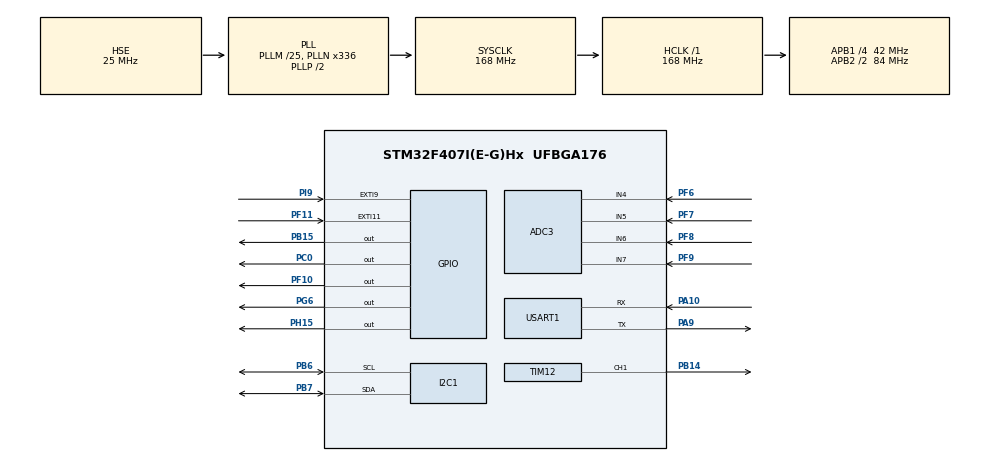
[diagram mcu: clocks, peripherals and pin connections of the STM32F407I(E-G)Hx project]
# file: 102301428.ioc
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ADC3.Channel-0\#ChannelRegularConversion=ADC_CHANNEL_4
ADC3.Channel-1\#ChannelRegularConversion=ADC_CHANNEL_5
ADC3.Channel-2\#ChannelRegularConversion=ADC_CHANNEL_6
ADC3.Channel-3\#ChannelRegularConversion=ADC_CHANNEL_7
ADC3.ContinuousConvMode=ENABLE
ADC3.DMAContinuousRequests=ENABLE
ADC3.NbrOfConversion=4
ADC3.NbrOfConversionFlag=1
ADC3.Rank-0\#ChannelRegularConversion=1
ADC3.Rank-1\#ChannelRegularConversion=2
ADC3.Rank-2\#ChannelRegularConversion=3
ADC3.Rank-3\#ChannelRegularConversion=4
ADC3.SamplingTime-0\#ChannelRegularConversion=ADC_SAMPLETIME_112CYCLES
ADC3.SamplingTime-1\#ChannelRegularConversion=ADC_SAMPLETIME_112CYCLES
ADC3.SamplingTime-2\#ChannelRegularConversion=ADC_SAMPLETIME_112CYCLES
ADC3.SamplingTime-3\#ChannelRegularConversion=ADC_SAMPLETIME_112CYCLES
ADC3.ScanConvMode=ENABLE
Dma.ADC3.0.Direction=DMA_PERIPH_TO_MEMORY
Dma.ADC3.0.FIFOMode=DMA_FIFOMODE_DISABLE
Dma.ADC3.0.Instance=DMA2_Stream0
Dma.ADC3.0.MemDataAlignment=DMA_MDATAALIGN_HALFWORD
Dma.ADC3.0.MemInc=DMA_MINC_ENABLE
Dma.ADC3.0.Mode=DMA_CIRCULAR
Dma.ADC3.0.PeriphDataAlignment=DMA_PDATAALIGN_HALFWORD
Dma.ADC3.0.PeriphInc=DMA_PINC_DISABLE
Dma.ADC3.0.Priority=DMA_PRIORITY_LOW
Dma.Request0=ADC3
FREERTOS.Tasks01=defaultTask,0,128,StartDefaultTask,Default,NULL,Dynamic,NULL,NULL
Mcu.Family=STM32F4
Mcu.Name=STM32F407I(E-G)Hx
Mcu.Package=UFBGA176
NVIC.DMA2_Stream0_IRQn=true\:5\:0\:false\:false\:true\:true\:false\:true
NVIC.EXTI15_10_IRQn=true\:5\:0\:false\:false\:true\:true\:true\:true
NVIC.EXTI9_5_IRQn=true\:5\:0\:false\:false\:true\:true\:true\:true
NVIC.PriorityGroup=NVIC_PRIORITYGROUP_4
PA10.Mode=Asynchronous
PA10.Signal=USART1_RX
PA9.Mode=Asynchronous
PA9.Signal=USART1_TX
PB14.Signal=S_TIM12_CH1
PB15.Signal=GPIO_Output
PB6.Mode=I2C
PB6.Signal=I2C1_SCL
PB7.Mode=I2C
PB7.Signal=I2C1_SDA
PC0.Signal=GPIO_Output
PF10.Signal=GPIO_Output
PF11.Signal=GPXTI11
PF6.Mode=IN4
PF6.Signal=ADC3_IN4
PF7.Mode=IN5
PF7.Signal=ADC3_IN5
PF8.Mode=IN6
PF8.Signal=ADC3_IN6
PF9.Mode=IN7
PF9.Signal=ADC3_IN7
PG6.Signal=GPIO_Output
PH0-OSC_IN.Mode=HSE-External-Oscillator
PH0-OSC_IN.Signal=RCC_OSC_IN
PH1-OSC_OUT.Mode=HSE-External-Oscillator
PH1-OSC_OUT.Signal=RCC_OSC_OUT
PH15.Signal=GPIO_Output
PI9.Signal=GPXTI9
ProjectManager.HeapSize=0x200
ProjectManager.StackSize=0x400
ProjectManager.TargetToolchain=MDK-ARM V5.27
RCC.48MHZClocksFreq_Value=84000000
RCC.AHBFreq_Value=168000000
RCC.APB1CLKDivider=RCC_HCLK_DIV4
RCC.APB1Freq_Value=42000000
RCC.APB1TimFreq_Value=84000000
RCC.APB2CLKDivider=RCC_HCLK_DIV2
RCC.APB2Freq_Value=84000000
RCC.APB2TimFreq_Value=168000000
RCC.CortexFreq_Value=168000000
RCC.HCLKFreq_Value=168000000
RCC.HSE_VALUE=25000000
RCC.HSI_VALUE=16000000
RCC.LSE_VALUE=32768
RCC.PLLM=8
RCC.PLLN=168
RCC.SYSCLKFreq_VALUE=168000000
RCC.SYSCLKSource=RCC_SYSCLKSOURCE_PLLCLK
RCC.VCOOutputFreq_Value=336000000
SH.S_TIM12_CH1.0=TIM12_CH1,PWM Generation1 CH1
TIM12.Channel-PWM\ Generation1\ CH1=TIM_CHANNEL_1
TIM12.Period=20000
TIM12.Prescaler=84-1
TIM12.Pulse-PWM\ Generation1\ CH1=1000
USART1.VirtualMode=VM_ASYNC
VP_FREERTOS_VS_CMSIS_V1.Mode=CMSIS_V1
board=custom

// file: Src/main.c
/* USER CODE BEGIN Header */
/**
  ******************************************************************************
  * @file           : main.c
  * @brief          : Main program body
  ******************************************************************************
  * @attention
  *
  * <h2><center>&copy; Copyright (c) 2025 STMicroelectronics.
  * All rights reserved.</center></h2>
  *
  * This software component is licensed by ST under Ultimate Liberty license
  * SLA0044, the "License"; You may not use this file except in compliance with
  * the License. You may obtain a copy of the License at:
  *                             www.st.com/SLA0044
  *
  ******************************************************************************
  */
/* USER CODE END Header */

#include "main.h"
#include "cmsis_os.h"
#include "adc.h"
#include "dma.h"
#include "i2c.h"
#include "tim.h"
#include "usart.h"
#include "gpio.h"

/* USER CODE BEGIN Includes */
#include "stdio.h"
/* USER CODE END Includes */

/* USER CODE BEGIN PD */
static  volatile int flag = 0 ;
static  volatile int alarm = 0 ;
/* USER CODE END PD */

/* USER CODE BEGIN PV */
__IO uint16_t adcx[4]={0};
float temp0,temp1,temp2,temp3;
#define ZLG_READ_ADDRESS1         0x01
#define ZLG_WRITE_ADDRESS1        0x17		//显示缓冲区首地址
#define ZLG_WRITE_ADDRESS2        0x16
/* USER CODE END PV */

void SystemClock_Config(void);
void MX_FREERTOS_Init(void);
/* USER CODE BEGIN PFP */
void LedD3(void const *argument);
void LedD2(void const *argument);
void stopAll(void const *argument);
void SensorTask(void const *argument);
void Peer(void const *argument);
void duoji(void const *argument);
void Love(void const *argument);
/* USER CODE END PFP */

int main(void)
{

  /* MCU Configuration--------------------------------------------------------*/

  /* Reset of all peripherals, Initializes the Flash interface and the Systick. */
  HAL_Init();

  /* Configure the system clock */
  SystemClock_Config();

  /* Initialize all configured peripherals */
  MX_GPIO_Init();
  MX_DMA_Init();
  MX_ADC3_Init();
  MX_I2C1_Init();
  MX_TIM12_Init();
  MX_USART1_UART_Init();
  /* USER CODE BEGIN 2 */
	HAL_ADC_Start_DMA(&hadc3,(uint32_t*)adcx,4);//开启ADC转换
	HAL_TIM_PWM_Start(&htim12, TIM_CHANNEL_1);
	HAL_GPIO_WritePin(GPIOB ,GPIO_PIN_15 ,GPIO_PIN_SET );
	HAL_GPIO_WritePin(GPIOC ,GPIO_PIN_0 ,GPIO_PIN_SET );
	HAL_GPIO_WritePin(GPIOF ,GPIO_PIN_10 ,GPIO_PIN_SET );
	HAL_GPIO_WritePin(GPIOH ,GPIO_PIN_15 ,GPIO_PIN_SET );
	osThreadDef (LedD3 ,LedD3 ,osPriorityNormal ,0,128);
	osThreadDef (LedD2 ,LedD2 ,osPriorityNormal ,0,128);
	osThreadDef (stopAll ,stopAll ,osPriorityNormal ,0,128);
	osThreadDef (SensorTask ,SensorTask ,osPriorityNormal ,0,128);
	osThreadDef (Peer ,Peer ,osPriorityNormal ,0,128);
	osThreadDef (duoji ,duoji ,osPriorityNormal ,0,128);
	osThreadDef (Love ,Love ,osPriorityNormal ,0,128);
	osThreadCreate (osThread (LedD3 ),NULL );
	osThreadCreate (osThread (LedD2 ),NULL );
	osThreadCreate (osThread (stopAll),NULL );
	osThreadCreate (osThread (SensorTask),NULL );
	osThreadCreate (osThread (Peer),NULL );
	osThreadCreate (osThread (duoji),NULL );
	osThreadCreate (osThread (Love),NULL );

  /* USER CODE END 2 */

  /* Call init function for freertos objects (in freertos.c) */
  MX_FREERTOS_Init();
  /* Start scheduler */
  osKernelStart();

  /* We should never get here as control is now taken by the scheduler */
  /* Infinite loop */
  while (1)
  {

  }
}

void SystemClock_Config(void)
{
  RCC_OscInitTypeDef RCC_OscInitStruct = {0};
  RCC_ClkInitTypeDef RCC_ClkInitStruct = {0};

  /** Configure the main internal regulator output voltage
  */
  __HAL_RCC_PWR_CLK_ENABLE();
  __HAL_PWR_VOLTAGESCALING_CONFIG(PWR_REGULATOR_VOLTAGE_SCALE1);
  /** Initializes the CPU, AHB and APB busses clocks
  */
  RCC_OscInitStruct.OscillatorType = RCC_OSCILLATORTYPE_HSE;
  RCC_OscInitStruct.HSEState = RCC_HSE_ON;
  RCC_OscInitStruct.PLL.PLLState = RCC_PLL_ON;
  RCC_OscInitStruct.PLL.PLLSource = RCC_PLLSOURCE_HSE;
  RCC_OscInitStruct.PLL.PLLM = 25;
  RCC_OscInitStruct.PLL.PLLN = 336;
  RCC_OscInitStruct.PLL.PLLP = RCC_PLLP_DIV2;
  RCC_OscInitStruct.PLL.PLLQ = 4;
  if (HAL_RCC_OscConfig(&RCC_OscInitStruct) != HAL_OK)
  {
    Error_Handler();
  }
  /** Initializes the CPU, AHB and APB busses clocks
  */
  RCC_ClkInitStruct.ClockType = RCC_CLOCKTYPE_HCLK|RCC_CLOCKTYPE_SYSCLK
                              |RCC_CLOCKTYPE_PCLK1|RCC_CLOCKTYPE_PCLK2;
  RCC_ClkInitStruct.SYSCLKSource = RCC_SYSCLKSOURCE_PLLCLK;
  RCC_ClkInitStruct.AHBCLKDivider = RCC_SYSCLK_DIV1;
  RCC_ClkInitStruct.APB1CLKDivider = RCC_HCLK_DIV4;
  RCC_ClkInitStruct.APB2CLKDivider = RCC_HCLK_DIV2;

  if (HAL_RCC_ClockConfig(&RCC_ClkInitStruct, FLASH_LATENCY_5) != HAL_OK)
  {
    Error_Handler();
  }
}

/* USER CODE BEGIN 4 */
void LedD3(void const *argument){
	for(;;)
	{
			if(flag == 2)
			{
				HAL_GPIO_WritePin (GPIOB, GPIO_PIN_15, GPIO_PIN_SET);
				osDelay(250);
				HAL_GPIO_WritePin (GPIOB, GPIO_PIN_15, GPIO_PIN_RESET);
				osDelay(250);
			}else HAL_GPIO_WritePin (GPIOB, GPIO_PIN_15, GPIO_PIN_SET);
	}
}
void LedD2(void const *argument){
	for(;;)
	{
			if(flag == 1)
			{
				HAL_GPIO_WritePin (GPIOF, GPIO_PIN_10, GPIO_PIN_SET);
				osDelay(500);
				HAL_GPIO_WritePin (GPIOF, GPIO_PIN_10, GPIO_PIN_RESET);
				osDelay(500);
			}else HAL_GPIO_WritePin (GPIOF, GPIO_PIN_10, GPIO_PIN_SET);
	}
}

void SensorTask(void const *argument)
{
    for(;;)
    {
			if(flag ==4)
			{
				temp0 = (float)adcx[0]*(3.3/4096);
        temp1 = (float)adcx[1]*(3.3/4096);
        temp2 = (float)adcx[2]*(3.3/4096);
			  temp3 = (float)adcx[3]*(3.3/4096);

        if(temp0 > 0.8 |temp1 > 2.5 ) alarm = 1;
        else alarm = 0;
        printf("Gas:%f light:%f Alarm: %d \n", temp0,temp1,alarm);

        osDelay(200); // 50~100ms ????
			}

    }
}

void Peer(void const *argument)
{
    int melody[] = {
        262, 294, 330, 349, 392, 392, 392,
        294, 330, 349, 392, 440, 440, 440,
        392, 330, 294, 262, 330, 294, 262
    };
    int duration[] = {
        150,150,150,150,300,100,100,
        150,150,150,150,300,100,100,
        200,150,150,150,200,200,400
    };
    int length = sizeof(melody)/sizeof(melody[0]);

    for(;;)
    {
        if(flag == 1 || flag == 3 || alarm==1 )
        {
            for(int i = 0; i < length; i++)
            {
                int freq = melody[i];
                int time_ms = duration[i];
                // ???????????
                int half_period_us = 500000 / freq;

                uint32_t start = HAL_GetTick();
                while((HAL_GetTick() - start) < time_ms)
                {
                    HAL_GPIO_WritePin(GPIOG, GPIO_PIN_6, GPIO_PIN_SET);
                    for(volatile int j=0; j<half_period_us*10; j++); // ?????
                    HAL_GPIO_WritePin(GPIOG, GPIO_PIN_6, GPIO_PIN_RESET);
                    for(volatile int j=0; j<half_period_us*10; j++);
                }

                osDelay(20); // ???????
            }
        }
        else
        {
            osDelay(50);
        }
    }
}

void stopAll(void const *argument){
	for(;;)
	{
			if(flag == 0)
			{
				HAL_GPIO_WritePin (GPIOC, GPIO_PIN_0, GPIO_PIN_SET);
				osDelay(500);
				HAL_GPIO_WritePin (GPIOB, GPIO_PIN_15, GPIO_PIN_SET);
			}
	}
}

void duoji(void const *argument){
	for(;;)
	{
			if(flag == 2)
			{
				for(int i = 600;i < 2400;i++){
					__HAL_TIM_SetCompare(&htim12, TIM_CHANNEL_1,i);
					osDelay(1);
				}
			for(int i = 2400;i > 600;i--){
					__HAL_TIM_SetCompare(&htim12,TIM_CHANNEL_1,i);
					osDelay(1);
				}
			}
	}
}

void Love(void const *argument){

	for(;;)
	{
		if(flag==3){
			printf("liuaji");
		  HAL_Delay(1000);
		}
	}
}

int fputc(int ch, FILE *f)
{
  uint8_t tmp[1]={0};
	tmp[0] = (uint8_t)ch;
	HAL_UART_Transmit(&huart1,tmp,1,10);
	return ch;
}

void HAL_GPIO_EXTI_Callback(uint16_t GPIO_Pin)
{

    if (GPIO_Pin == GPIO_PIN_9)
    {
        flag ++ ;
    }
		else if(GPIO_Pin == GPIO_PIN_11)
		{
				flag = 0 ;
		}
		printf("PIN:%d,flag = %d",GPIO_Pin,flag);
}
/* USER CODE END 4 */

void Error_Handler(void)
{
}

/************************ (C) COPYRIGHT STMicroelectronics *****END OF FILE****/

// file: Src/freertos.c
/* USER CODE BEGIN Header */
/**
  ******************************************************************************
  * File Name          : freertos.c
  * Description        : Code for freertos applications
  ******************************************************************************
  * @attention
  *
  * <h2><center>&copy; Copyright (c) 2025 STMicroelectronics.
  * All rights reserved.</center></h2>
  *
  * This software component is licensed by ST under Ultimate Liberty license
  * SLA0044, the "License"; You may not use this file except in compliance with
  * the License. You may obtain a copy of the License at:
  *                             www.st.com/SLA0044
  *
  ******************************************************************************
  */
/* USER CODE END Header */

#include "FreeRTOS.h"
#include "task.h"
#include "main.h"
#include "cmsis_os.h"

osThreadId defaultTaskHandle;

void StartDefaultTask(void const * argument);

void MX_FREERTOS_Init(void); /* (MISRA C 2004 rule 8.1) */

/* GetIdleTaskMemory prototype (linked to static allocation support) */
void vApplicationGetIdleTaskMemory( StaticTask_t **ppxIdleTaskTCBBuffer, StackType_t **ppxIdleTaskStackBuffer, uint32_t *pulIdleTaskStackSize );

/* USER CODE BEGIN GET_IDLE_TASK_MEMORY */
static StaticTask_t xIdleTaskTCBBuffer;
static StackType_t xIdleStack[configMINIMAL_STACK_SIZE];

void vApplicationGetIdleTaskMemory( StaticTask_t **ppxIdleTaskTCBBuffer, StackType_t **ppxIdleTaskStackBuffer, uint32_t *pulIdleTaskStackSize )
{
  *ppxIdleTaskTCBBuffer = &xIdleTaskTCBBuffer;
  *ppxIdleTaskStackBuffer = &xIdleStack[0];
  *pulIdleTaskStackSize = configMINIMAL_STACK_SIZE;
  /* place for user code */
}
/* USER CODE END GET_IDLE_TASK_MEMORY */

void MX_FREERTOS_Init(void) {

  /* Create the thread(s) */
  /* definition and creation of defaultTask */
  osThreadDef(defaultTask, StartDefaultTask, osPriorityNormal, 0, 128);
  defaultTaskHandle = osThreadCreate(osThread(defaultTask), NULL);

}

void StartDefaultTask(void const * argument)
{
  for(;;)
  {
    osDelay(1);
  }
}

/************************ (C) COPYRIGHT STMicroelectronics *****END OF FILE****/
